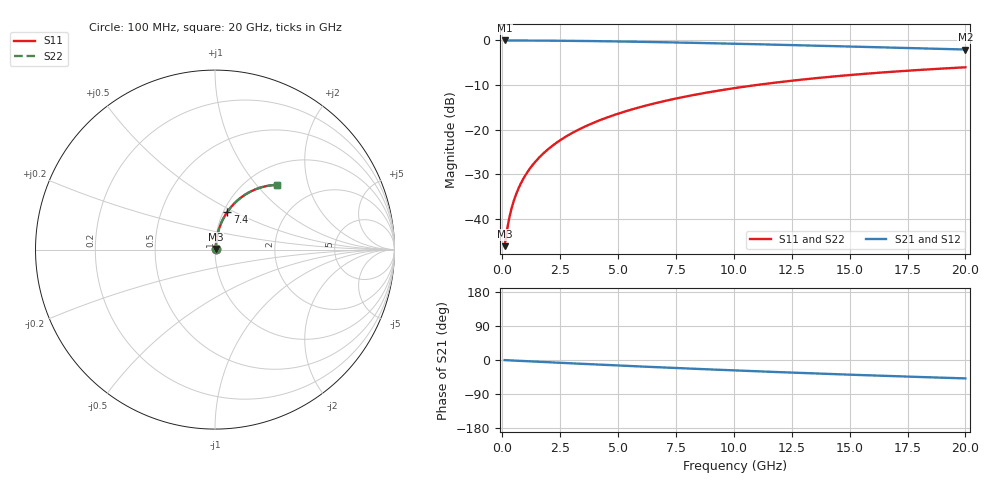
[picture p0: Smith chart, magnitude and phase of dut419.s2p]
! Touchstone file exported from HFSS 2024.1.0
!  File:  C:/UserFiles/LocalFiles/RDL_TSV_Batchsim/temp_RDL_bottom_419_1779683676.aedt
!  Generated:  12:37:11 PM May 25, 2026
!  Design:  RDL_bottom
!  Project:  temp_RDL_bottom_419_1779683676
!  Setup:  Setup1
!  Solution:  Sweep
! Variables:
!  dtsv = 10.80580581um
!  hbump = 3um
!  htsv = 89.05um
!  ldown = 639.3um
!  lrdl = 100um
!  p = 40
!  p1 = 56.28um
!  rhole = 1um
!  t = 450um
!  tdown = 3.94um
!  trdl = 3.915915916um
!  wdown = 15.36um
!  wrdl = 20um
# GHz S MA R 50.000000
! Terminal data exported
! Port[1] = RDL1_T1
! Port[2] = RDL1_T2
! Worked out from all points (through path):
!   200 points, 100 MHz to 20 GHz, reference 50 ohm
!   highest |S21| = -0.03 dB at 100 MHz (marker M1); lowest = -2.1 dB at 20 GHz (marker M2)
!   group delay of S21, straight-line fit = 6.74 ps
!   lowest |S11| = -46.0 dB at 100 MHz (marker M3), VSWR 1.01, Z = 50.4 + j0.321 ohm
!   |S11| at or under -10 dB: start of sweep to 10.98 GHz
!   |S22| runs from -46.0 to -6.0 dB; largest |S21 - S12| = 2.8e-14
!   S11 on the Smith chart (normalised r, x): 100 MHz: 1.01, +0.01; 7.4 GHz: 1.04, +0.46; 20 GHz: 1.34, +1.29
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0.1  0.004988 39.7  0.9962 -0.3  0.9962 -0.3  0.004988 39.7
! Gamma 0 0 0 0
! Port Impedance 50 0 50 0
0.2  0.007468 58.0  0.996 -0.6  0.996 -0.6  0.007468 58.0
0.3  0.01029 66.4  0.9959 -0.9  0.9959 -0.9  0.01029 66.4
0.4  0.0132 71.0  0.9957 -1.2  0.9957 -1.2  0.0132 71.0
0.5  0.01614 73.8  0.9955 -1.5  0.9955 -1.5  0.01614 73.8
0.6  0.0191 75.8  0.9954 -1.8  0.9954 -1.8  0.0191 75.8
0.8  0.02506 78.2  0.995 -2.4  0.995 -2.4  0.02506 78.2
1.1  0.03405 80.1  0.9943 -3.3  0.9943 -3.3  0.03405 80.1
1.5  0.0461 81.1  0.9931 -4.5  0.9931 -4.5  0.0461 81.1
1.8  0.05516 81.3  0.9921 -5.3  0.9921 -5.3  0.05516 81.3
2.1  0.06423 81.3  0.9908 -6.2  0.9908 -6.2  0.06423 81.3
2.7  0.08234 80.8  0.9878 -8.0  0.9878 -8.0  0.08234 80.8
3.5  0.1064 79.6  0.9829 -10.3  0.9829 -10.3  0.1064 79.6
4.2  0.1274 78.4  0.9777 -12.2  0.9777 -12.2  0.1274 78.4
5  0.1511 76.9  0.971 -14.5  0.971 -14.5  0.1511 76.9
6.8  0.2035 73.2  0.9533 -19.3  0.9533 -19.3  0.2035 73.2
7.4  0.2205 71.9  0.9468 -20.9  0.9468 -20.9  0.2205 71.9
8.7  0.2566 69.1  0.9319 -24.2  0.9319 -24.2  0.2566 69.1
10.1  0.2939 66.0  0.9149 -27.6  0.9149 -27.6  0.2939 66.1
13.4  0.374 59.0  0.8728 -35.3  0.8728 -35.3  0.374 59.0
16.7  0.4424 52.3  0.8301 -42.2  0.8301 -42.2  0.4424 52.4
20  0.4991 46.2  0.7889 -48.6  0.7889 -48.6  0.4991 46.3
